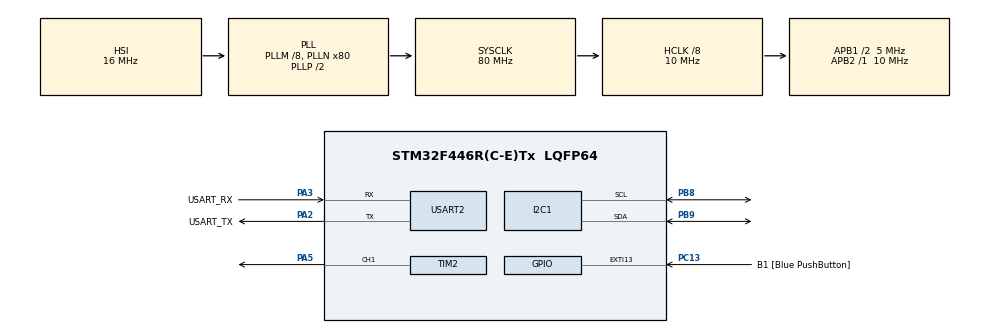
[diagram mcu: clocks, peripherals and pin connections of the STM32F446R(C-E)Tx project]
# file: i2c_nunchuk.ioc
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Mcu.Family=STM32F4
Mcu.Name=STM32F446R(C-E)Tx
Mcu.Package=LQFP64
NVIC.PriorityGroup=NVIC_PRIORITYGROUP_0
PA13.GPIO_Label=TMS
PA13.Mode=Serial_Wire
PA13.Signal=SYS_JTMS-SWDIO
PA14.GPIO_Label=TCK
PA14.Mode=Serial_Wire
PA14.Signal=SYS_JTCK-SWCLK
PA2.GPIO_Label=USART_TX
PA2.Mode=Asynchronous
PA2.Signal=USART2_TX
PA3.GPIO_Label=USART_RX
PA3.Mode=Asynchronous
PA3.Signal=USART2_RX
PA5.Signal=S_TIM2_CH1_ETR
PB3.GPIO_Label=SWO
PB3.Signal=SYS_JTDO-SWO
PB8.Mode=I2C
PB8.Signal=I2C1_SCL
PB9.Mode=I2C
PB9.Signal=I2C1_SDA
PC13.GPIO_Label=B1 [Blue PushButton]
PC13.GPIO_ModeDefaultEXTI=GPIO_MODE_IT_FALLING
PC13.Signal=GPXTI13
PC14-OSC32_IN.Mode=LSE-External-Oscillator
PC14-OSC32_IN.Signal=RCC_OSC32_IN
PC15-OSC32_OUT.Mode=LSE-External-Oscillator
PC15-OSC32_OUT.Signal=RCC_OSC32_OUT
PH0-OSC_IN.Mode=HSE-External-Oscillator
PH0-OSC_IN.Signal=RCC_OSC_IN
PH1-OSC_OUT.Mode=HSE-External-Oscillator
PH1-OSC_OUT.Signal=RCC_OSC_OUT
ProjectManager.HeapSize=0x200
ProjectManager.StackSize=0x400
ProjectManager.TargetToolchain=STM32CubeIDE
RCC.48MHZClocksFreq_Value=84000000
RCC.AHBCLKDivider=RCC_SYSCLK_DIV8
RCC.AHBFreq_Value=10000000
RCC.APB1CLKDivider=RCC_HCLK_DIV2
RCC.APB1Freq_Value=5000000
RCC.APB1TimFreq_Value=10000000
RCC.APB2Freq_Value=10000000
RCC.APB2TimFreq_Value=10000000
RCC.CortexFreq_Value=10000000
RCC.FLatency-AdvancedSettings=FLASH_LATENCY_0
RCC.HCLKFreq_Value=10000000
RCC.HSE_VALUE=8000000
RCC.HSI_VALUE=16000000
RCC.PLLM=8
RCC.PLLN=80
RCC.SYSCLKFreq_VALUE=80000000
RCC.SYSCLKSource=RCC_SYSCLKSOURCE_PLLCLK
RCC.USBFreq_Value=80000000
RCC.VCOOutputFreq_Value=160000000
SH.S_TIM2_CH1_ETR.0=TIM2_CH1,PWM Generation1 CH1
TIM2.Channel-PWM\ Generation1\ CH1=TIM_CHANNEL_1
TIM2.Period=999
TIM2.Prescaler=1000-1
USART2.VirtualMode=VM_ASYNC
VP_TIM2_VS_ClockSourceINT.Mode=Internal
board=NUCLEO-F446RE

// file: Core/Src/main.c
/* USER CODE BEGIN Header */
/**
  ******************************************************************************
  * @file           : main.c
  * @brief          : Main program body
  ******************************************************************************
  * @attention
  *
  * Copyright (c) 2025 STMicroelectronics.
  * All rights reserved.
  *
  * This software is licensed under terms that can be found in the LICENSE file
  * in the root directory of this software component.
  * If no LICENSE file comes with this software, it is provided AS-IS.
  *
  ******************************************************************************
  */
/* USER CODE END Header */
#include "main.h"

/* USER CODE BEGIN Includes */
#include <string.h>
#include "i2c_nunchuk.h"
#include <stdio.h>

/* USER CODE END Includes */

I2C_HandleTypeDef hi2c1;

TIM_HandleTypeDef htim2;

UART_HandleTypeDef huart2;

void SystemClock_Config(void);
static void MX_GPIO_Init(void);
static void MX_USART2_UART_Init(void);
static void MX_I2C1_Init(void);
static void MX_TIM2_Init(void);

int main(void)
{

  /* USER CODE BEGIN 1 */
  uint8_t buf[50];
  uint8_t prev_state = 0;
  /* USER CODE END 1 */

  /* MCU Configuration--------------------------------------------------------*/

  /* Reset of all peripherals, Initializes the Flash interface and the Systick. */
  HAL_Init();

  /* Configure the system clock */
  SystemClock_Config();

  /* Initialize all configured peripherals */
  MX_GPIO_Init();
  MX_USART2_UART_Init();
  MX_I2C1_Init();
  MX_TIM2_Init();
  /* USER CODE BEGIN 2 */
  HAL_TIM_PWM_Start(&htim2, TIM_CHANNEL_1);
  NunchukData nc_data;

  if (Nunchuk_Init(&hi2c1) != HAL_OK)
      Error_Handler();
  /* USER CODE END 2 */

  /* Infinite loop */
  /* USER CODE BEGIN WHILE */
  while (1)
  {
    if (Nunchuk_ReadData(&hi2c1, &nc_data) == HAL_OK) {

        // Determinar estado atual
        uint8_t curr_state;
        if (nc_data.btn_c == 0 && nc_data.btn_z == 0) curr_state = 0;
        else if (nc_data.btn_c == 1 && nc_data.btn_z == 1) curr_state = 2;
        else curr_state = 1;

    	sprintf((char*)buf, "X:%d Y:%d | C:%d Z:%d\r\n", nc_data.joy_x, nc_data.joy_y, nc_data.btn_c, nc_data.btn_z);
    	HAL_UART_Transmit(&huart2, buf, strlen((char*)buf), HAL_MAX_DELAY); // send to UART

    	if(curr_state != prev_state) {

			if (curr_state == 0) {
				__HAL_TIM_SET_COMPARE(&htim2, TIM_CHANNEL_1, 0);
			}
			else if (curr_state == 1){
				__HAL_TIM_SET_AUTORELOAD(&htim2, 9999); // change the frequency to a lower value (visible for the LED)
				__HAL_TIM_SET_COMPARE(&htim2, TIM_CHANNEL_1, 5000); // 50% duty cycle
				__HAL_TIM_SET_COUNTER(&htim2, 0); // restart cycle
			}
			else if (curr_state == 2){
				__HAL_TIM_SET_AUTORELOAD(&htim2, 999); // change the frequency to a higher value (visible for the LED)
				__HAL_TIM_SET_COMPARE(&htim2, TIM_CHANNEL_1, 500); // 50% duty cycle
				__HAL_TIM_SET_COUNTER(&htim2, 0); // restart cycle
			}
    	prev_state = curr_state; //save the current state

    	}

    }
	HAL_Delay(10);
    /* USER CODE END WHILE */

  }
}

void SystemClock_Config(void)
{
  RCC_OscInitTypeDef RCC_OscInitStruct = {0};
  RCC_ClkInitTypeDef RCC_ClkInitStruct = {0};

  /** Configure the main internal regulator output voltage
  */
  __HAL_RCC_PWR_CLK_ENABLE();
  __HAL_PWR_VOLTAGESCALING_CONFIG(PWR_REGULATOR_VOLTAGE_SCALE3);

  /** Initializes the RCC Oscillators according to the specified parameters
  * in the RCC_OscInitTypeDef structure.
  */
  RCC_OscInitStruct.OscillatorType = RCC_OSCILLATORTYPE_HSI;
  RCC_OscInitStruct.HSIState = RCC_HSI_ON;
  RCC_OscInitStruct.HSICalibrationValue = RCC_HSICALIBRATION_DEFAULT;
  RCC_OscInitStruct.PLL.PLLState = RCC_PLL_ON;
  RCC_OscInitStruct.PLL.PLLSource = RCC_PLLSOURCE_HSI;
  RCC_OscInitStruct.PLL.PLLM = 8;
  RCC_OscInitStruct.PLL.PLLN = 80;
  RCC_OscInitStruct.PLL.PLLP = RCC_PLLP_DIV2;
  RCC_OscInitStruct.PLL.PLLQ = 2;
  RCC_OscInitStruct.PLL.PLLR = 2;
  if (HAL_RCC_OscConfig(&RCC_OscInitStruct) != HAL_OK)
  {
    Error_Handler();
  }

  /** Initializes the CPU, AHB and APB buses clocks
  */
  RCC_ClkInitStruct.ClockType = RCC_CLOCKTYPE_HCLK|RCC_CLOCKTYPE_SYSCLK
                              |RCC_CLOCKTYPE_PCLK1|RCC_CLOCKTYPE_PCLK2;
  RCC_ClkInitStruct.SYSCLKSource = RCC_SYSCLKSOURCE_PLLCLK;
  RCC_ClkInitStruct.AHBCLKDivider = RCC_SYSCLK_DIV8;
  RCC_ClkInitStruct.APB1CLKDivider = RCC_HCLK_DIV2;
  RCC_ClkInitStruct.APB2CLKDivider = RCC_HCLK_DIV1;

  if (HAL_RCC_ClockConfig(&RCC_ClkInitStruct, FLASH_LATENCY_0) != HAL_OK)
  {
    Error_Handler();
  }
}

static void MX_I2C1_Init(void)
{

  hi2c1.Instance = I2C1;
  hi2c1.Init.ClockSpeed = 100000;
  hi2c1.Init.DutyCycle = I2C_DUTYCYCLE_2;
  hi2c1.Init.OwnAddress1 = 0;
  hi2c1.Init.AddressingMode = I2C_ADDRESSINGMODE_7BIT;
  hi2c1.Init.DualAddressMode = I2C_DUALADDRESS_DISABLE;
  hi2c1.Init.OwnAddress2 = 0;
  hi2c1.Init.GeneralCallMode = I2C_GENERALCALL_DISABLE;
  hi2c1.Init.NoStretchMode = I2C_NOSTRETCH_DISABLE;
  if (HAL_I2C_Init(&hi2c1) != HAL_OK)
  {
    Error_Handler();
  }

}

static void MX_TIM2_Init(void)
{

  TIM_ClockConfigTypeDef sClockSourceConfig = {0};
  TIM_MasterConfigTypeDef sMasterConfig = {0};
  TIM_OC_InitTypeDef sConfigOC = {0};

  htim2.Instance = TIM2;
  htim2.Init.Prescaler = 1000-1;
  htim2.Init.CounterMode = TIM_COUNTERMODE_UP;
  htim2.Init.Period = 999;
  htim2.Init.ClockDivision = TIM_CLOCKDIVISION_DIV1;
  htim2.Init.AutoReloadPreload = TIM_AUTORELOAD_PRELOAD_DISABLE;
  if (HAL_TIM_Base_Init(&htim2) != HAL_OK)
  {
    Error_Handler();
  }
  sClockSourceConfig.ClockSource = TIM_CLOCKSOURCE_INTERNAL;
  if (HAL_TIM_ConfigClockSource(&htim2, &sClockSourceConfig) != HAL_OK)
  {
    Error_Handler();
  }
  if (HAL_TIM_PWM_Init(&htim2) != HAL_OK)
  {
    Error_Handler();
  }
  sMasterConfig.MasterOutputTrigger = TIM_TRGO_RESET;
  sMasterConfig.MasterSlaveMode = TIM_MASTERSLAVEMODE_DISABLE;
  if (HAL_TIMEx_MasterConfigSynchronization(&htim2, &sMasterConfig) != HAL_OK)
  {
    Error_Handler();
  }
  sConfigOC.OCMode = TIM_OCMODE_PWM1;
  sConfigOC.Pulse = 0;
  sConfigOC.OCPolarity = TIM_OCPOLARITY_HIGH;
  sConfigOC.OCFastMode = TIM_OCFAST_DISABLE;
  if (HAL_TIM_PWM_ConfigChannel(&htim2, &sConfigOC, TIM_CHANNEL_1) != HAL_OK)
  {
    Error_Handler();
  }
  HAL_TIM_MspPostInit(&htim2);

}

static void MX_USART2_UART_Init(void)
{

  huart2.Instance = USART2;
  huart2.Init.BaudRate = 115200;
  huart2.Init.WordLength = UART_WORDLENGTH_8B;
  huart2.Init.StopBits = UART_STOPBITS_1;
  huart2.Init.Parity = UART_PARITY_NONE;
  huart2.Init.Mode = UART_MODE_TX_RX;
  huart2.Init.HwFlowCtl = UART_HWCONTROL_NONE;
  huart2.Init.OverSampling = UART_OVERSAMPLING_16;
  if (HAL_UART_Init(&huart2) != HAL_OK)
  {
    Error_Handler();
  }

}

static void MX_GPIO_Init(void)
{
  GPIO_InitTypeDef GPIO_InitStruct = {0};

  /* GPIO Ports Clock Enable */
  __HAL_RCC_GPIOC_CLK_ENABLE();
  __HAL_RCC_GPIOH_CLK_ENABLE();
  __HAL_RCC_GPIOA_CLK_ENABLE();
  __HAL_RCC_GPIOB_CLK_ENABLE();

  /*Configure GPIO pin : B1_Pin */
  GPIO_InitStruct.Pin = B1_Pin;
  GPIO_InitStruct.Mode = GPIO_MODE_IT_FALLING;
  GPIO_InitStruct.Pull = GPIO_NOPULL;
  HAL_GPIO_Init(B1_GPIO_Port, &GPIO_InitStruct);

}

void Error_Handler(void)
{
  __disable_irq();
  while (1)
  {
  }
}
